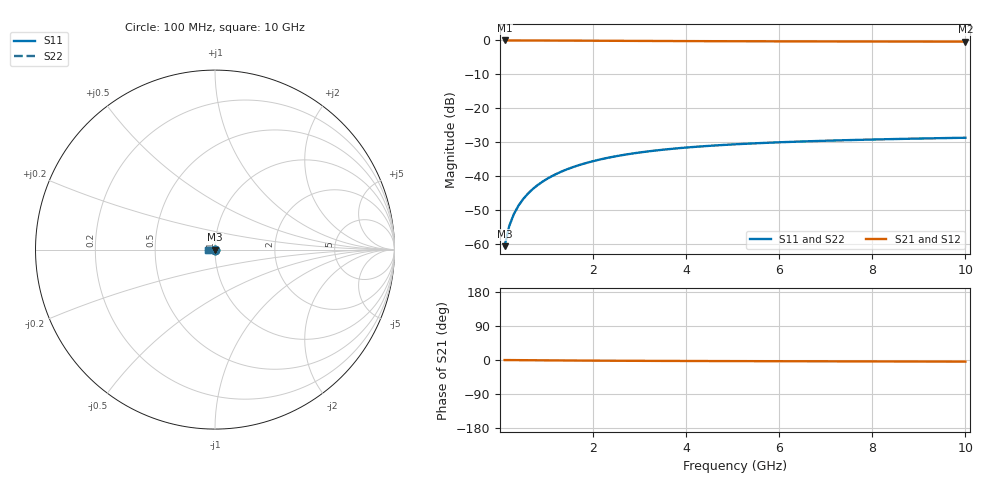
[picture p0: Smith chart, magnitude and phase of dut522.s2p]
! Touchstone file exported from HFSS 2024.1.0
!  File:  C:/UserFiles/LocalFiles/RDL_TSV_Batchsim/temp_TSV1_522_1779703577.aedt
!  Generated:  06:10:40 PM May 25, 2026
!  Design:  TSV1
!  Project:  temp_TSV1_522_1779703577
!  Setup:  Setup1
!  Solution:  Sweep
! Variables:
!  dtsv = 8.91um
!  hbump = 3um
!  htsv = 65.64um
!  lrdl = 252.1521522um
!  p = 40
!  p1 = 42.88um
!  t = 500um
!  trdl = 3um
!  wrdl = 24.89489489um
# GHz S MA R 50.000000
! Terminal data exported
! Port[1] = TSV22_T1
! Port[2] = TSV22_T2
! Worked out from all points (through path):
!   100 points, 100 MHz to 10 GHz, reference 50 ohm
!   highest |S21| = 0.00 dB at 100 MHz (marker M1); lowest = -0.3 dB at 10 GHz (marker M2)
!   lowest |S11| = -60.5 dB at 100 MHz (marker M3), VSWR 1.00, Z = 50 - j0.0934 ohm
!   |S11| at or under -10 dB: start of sweep to end of sweep
!   |S22| runs from -60.5 to -28.6 dB; largest |S21 - S12| = 4.1e-15
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0.1  0.0009437 -81.6  0.9998 -0.1  0.9998 -0.1  0.0009437 -81.6
! Gamma 0 0 0 0
! Port Impedance 50 0 50 0
0.2  0.001874 -88.0  0.9997 -0.2  0.9997 -0.2  0.001874 -88.0
0.3  0.00281 -91.3  0.9996 -0.3  0.9996 -0.3  0.00281 -91.3
0.4  0.003741 -93.8  0.9994 -0.4  0.9994 -0.4  0.003741 -93.8
0.5  0.004665 -96.0  0.9991 -0.5  0.9991 -0.5  0.004665 -96.0
0.6  0.005581 -97.9  0.9988 -0.6  0.9988 -0.6  0.005581 -97.9
0.7  0.006486 -99.8  0.9985 -0.7  0.9985 -0.7  0.006486 -99.8
0.8  0.007378 -101.6  0.9981 -0.8  0.9981 -0.8  0.007378 -101.6
0.9  0.008257 -103.4  0.9977 -0.8  0.9977 -0.8  0.008257 -103.4
1.1  0.00997 -106.7  0.9967 -1.0  0.9967 -1.0  0.00997 -106.7
1.4  0.01241 -111.4  0.995 -1.2  0.995 -1.2  0.01241 -111.4
1.6  0.01395 -114.4  0.9938 -1.4  0.9938 -1.4  0.01395 -114.4
1.8  0.0154 -117.3  0.9924 -1.5  0.9924 -1.5  0.0154 -117.3
2.1  0.01744 -121.4  0.9904 -1.7  0.9904 -1.7  0.01744 -121.4
2.5  0.01987 -126.6  0.9877 -2.0  0.9877 -2.0  0.01987 -126.6
2.9  0.02201 -131.2  0.985 -2.2  0.985 -2.2  0.02201 -131.2
3.4  0.02431 -136.6  0.9818 -2.4  0.9818 -2.4  0.02431 -136.6
4.2  0.02727 -144.0  0.9773 -2.7  0.9773 -2.7  0.02727 -144.0
5.1  0.02982 -151.1  0.9732 -3.0  0.9732 -3.0  0.02982 -151.1
6.7  0.03303 -161.3  0.9678 -3.4  0.9678 -3.4  0.03303 -161.3
8.4  0.0354 -169.8  0.9639 -3.8  0.9639 -3.8  0.0354 -169.8
10  0.03711 -176.6  0.9613 -4.3  0.9613 -4.3  0.03711 -176.6
